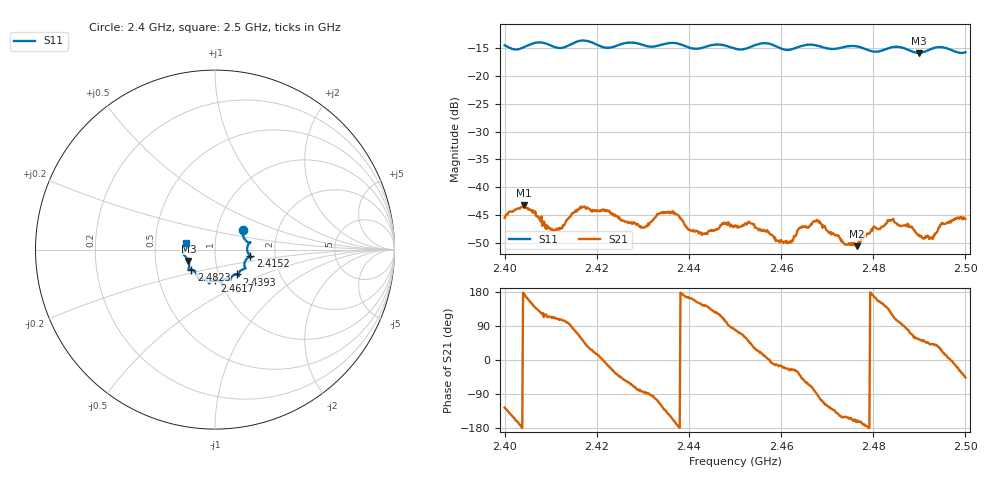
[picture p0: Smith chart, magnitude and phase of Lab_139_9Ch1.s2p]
# Hz S RI R 50
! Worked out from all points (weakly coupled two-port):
!   601 points, 2.4 GHz to 2.5 GHz, reference 50 ohm
!   highest |S21| = -43.27 dB at 2.4042 GHz (marker M1); lowest = -50.6 dB at 2.4765 GHz (marker M2)
!   lowest |S11| = -15.8 dB at 2.4898 GHz (marker M3), VSWR 1.39, Z = 36.8 - j4.82 ohm
!   |S11| at or under -10 dB: start of sweep to end of sweep
!   S12 and S22 are empty: the file has one direction only
!   S11 on the Smith chart (normalised r, x): 2.4 GHz: 1.33, +0.30; 2.4152 GHz: 1.48, -0.11; 2.4393 GHz: 1.23, -0.35; 2.4617 GHz: 0.94, -0.33; 2.4823 GHz: 0.75, -0.17; 2.5 GHz: 0.72, +0.05
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2.4e9  0.1553 0.1085  -0.0031 -0.00432  0 0  0 0
2.404167e9  0.1757 0.0463  -0.00684 0.000543  0 0  0 0
2.4105e9  0.1833 0.024  -0.00148 0.00384  0 0  0 0
2.415167e9  0.1968 -0.0368  0.00122 0.00584  0 0  0 0
2.416667e9  0.2045 -0.0421  0.00378 0.00556  0 0  0 0
2.429833e9  0.1577 -0.109  0.000586 -0.00435  0 0  0 0
2.433333e9  0.1321 -0.134  -0.00194 -0.00539  0 0  0 0
2.437e9  0.1343 -0.1457  -0.00555 -0.00156  0 0  0 0
2.439333e9  0.1229 -0.1381  -0.00437 0.001  0 0  0 0
2.443333e9  0.0882 -0.159  -0.00304 0.00231  0 0  0 0
2.447667e9  0.0828 -0.1699  -0.00142 0.00459  0 0  0 0
2.45e9  0.0661 -0.1638  0.000752 0.00448  0 0  0 0
2.4535e9  0.0363 -0.1804  0.00349 0.00319  0 0  0 0
2.461667e9  0.000156 -0.1721  0.00288 -0.00139  0 0  0 0
2.466667e9  -0.0336 -0.1888  0.00149 -0.00439  0 0  0 0
2.4765e9  -0.0951 -0.1586  -0.00276 -0.00106  0 0  0 0
2.482333e9  -0.1319 -0.111  -0.00368 0.00256  0 0  0 0
2.483333e9  -0.1407 -0.1097  -0.00344 0.0036  0 0  0 0
2.489833e9  -0.1484 -0.0637  0.0021 0.00304  0 0  0 0
2.492667e9  -0.1735 -0.03  0.00264 0.00236  0 0  0 0
2.495e9  -0.1808 -0.0202  0.00444 0.00174  0 0  0 0
2.5e9  -0.1598 0.0365  0.00358 -0.00375  0 0  0 0
